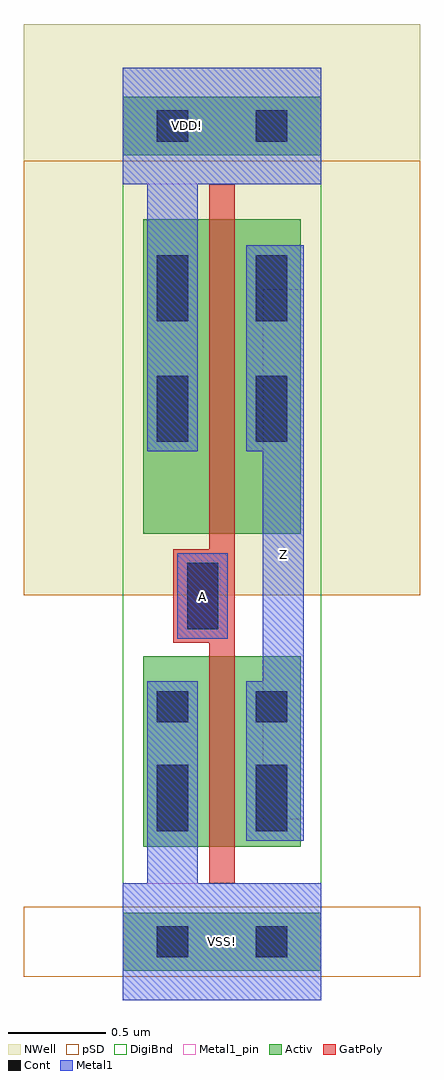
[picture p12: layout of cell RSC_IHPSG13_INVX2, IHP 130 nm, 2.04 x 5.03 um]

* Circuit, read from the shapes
.subckt RSC_IHPSG13_INVX2 A VDD! VSS! Z
XM1 Z A VSS! VSS! sg13_lv_nmos w=0.98u l=0.13u
XM2 Z A VDD! VDD! sg13_lv_pmos w=1.62u l=0.13u
.ends

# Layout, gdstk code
import gdstk
lib = gdstk.Library(unit=1e-6, precision=1e-09)
def R(c, l, rs):  # rectangles x0, y0, x1, y1
    for r in rs: c.add(gdstk.rectangle(r[:2], r[2:], *l))
def P(c, l, *ps):  # polygons
    for p in ps: c.add(gdstk.Polygon(p, *l))
Activ = (1, 0)
GatPoly = (5, 0)
Cont = (6, 0)
Metal1 = (8, 0)
Metal1_pin = (8, 2)
pSD = (14, 0)
DigiBnd = (16, 0)
NWell = (31, 0)

rsc_ihpsg13_invx2 = lib.new_cell('RSC_IHPSG13_INVX2')
R(rsc_ihpsg13_invx2, Activ, [(0,-0.15,1.02,0.15), (0.105,0.49,0.915,1.47), (0.105,2.1,0.915,3.72), (0,4.05,1.02,4.35)])
P(rsc_ihpsg13_invx2, GatPoly, [(0.445,0.3),(0.445,1.54),(0.26,1.54),(0.26,2.02),(0.445,2.02),(0.445,3.9),(0.575,3.9),(0.575,0.3)])
R(rsc_ihpsg13_invx2, Cont, [(0.175,-0.08,0.335,0.08), (0.685,-0.08,0.845,0.08), (0.175,0.57,0.335,0.91), (0.685,0.57,0.845,0.91), (0.175,1.13,0.335,1.29), (0.685,1.13,0.845,1.29), (0.33,1.61,0.49,1.95), (0.175,2.575,0.335,2.915), (0.685,2.575,0.845,2.915), (0.175,3.195,0.335,3.535), (0.685,3.195,0.845,3.535), (0.175,4.12,0.335,4.28), (0.685,4.12,0.845,4.28)])
R(rsc_ihpsg13_invx2, Metal1, [(0.28,1.56,0.54,2)])
P(rsc_ihpsg13_invx2, Metal1, [(0.635,0.52),(0.635,1.34),(0.72,1.34),(0.72,2.525),(0.635,2.525),(0.635,3.585),(0.93,3.585),(0.93,0.52)],
  [(0.125,2.525),(0.125,3.9),(0,3.9),(0,4.5),(1.02,4.5),(1.02,3.9),(0.385,3.9),(0.385,2.525)],
  [(0,-0.3),(0,0.3),(0.125,0.3),(0.125,1.34),(0.385,1.34),(0.385,0.3),(1.02,0.3),(1.02,-0.3)])
R(rsc_ihpsg13_invx2, Metal1_pin, [(0,-0.3,1.02,0.3), (0.72,0.63,0.93,3.36), (0.28,1.56,0.54,2), (0,3.9,1.02,4.5)])
R(rsc_ihpsg13_invx2, pSD, [(-0.51,-0.18,1.53,0.18), (-0.51,1.785,1.53,4.02)])
R(rsc_ihpsg13_invx2, DigiBnd, [(0,-0.3,1.02,4.5)])
R(rsc_ihpsg13_invx2, NWell, [(-0.51,1.785,1.53,4.725)])
rsc_ihpsg13_invx2.add(gdstk.Label('VSS!', (0.51,0), layer=8, texttype=2))
rsc_ihpsg13_invx2.add(gdstk.Label('VDD!', (0.33,4.2), layer=8, texttype=2))
rsc_ihpsg13_invx2.add(gdstk.Label('A', (0.41,1.78), layer=8, texttype=2))
rsc_ihpsg13_invx2.add(gdstk.Label('Z', (0.825,1.995), layer=8, texttype=2))

lib.write_gds('RSC_IHPSG13_INVX2.gds')
